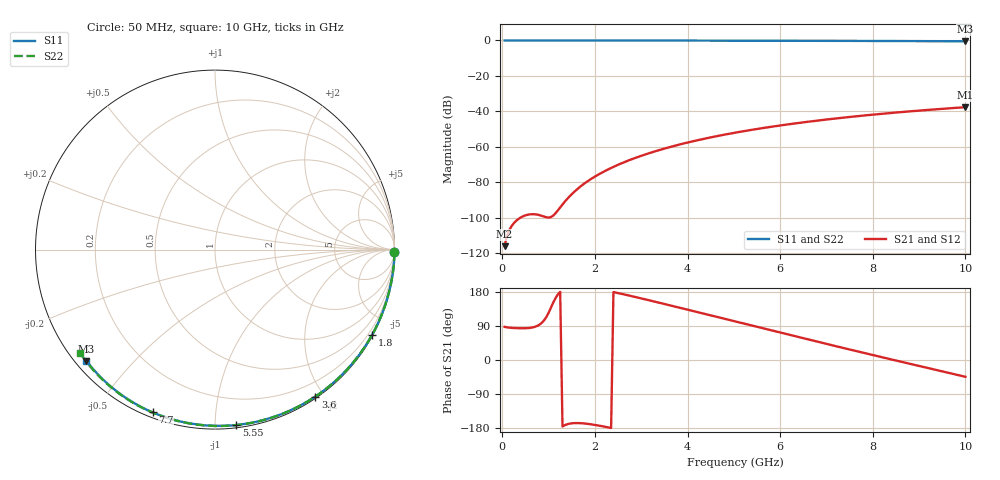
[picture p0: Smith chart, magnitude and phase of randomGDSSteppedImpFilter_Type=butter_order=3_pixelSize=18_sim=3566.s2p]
! freq	dB(S11)	phase(S11)	dB(S12)	phase(S12)
!  dB(S21)	phase(S21)	dB(S22)	phase(S22)
!S-par simulation data
#  GHz  S  DB  R 50
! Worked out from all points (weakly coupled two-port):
!   200 points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, 50 MHz to 10 GHz, reference 50 ohm
!   highest |S21| = -37.67 dB at 10 GHz (marker M1); lowest = -116.1 dB at 50 MHz (marker M2)
!   lowest |S11| = -0.5 dB at 10 GHz (marker M3), VSWR 36.78, Z = 1.55 - j18.6 ohm
!   |S11| at or under -10 dB: nowhere
!   |S22| runs from -0.5 to 0.0 dB; largest |S21 - S12| = 0
!   S11 on the Smith chart (normalised r, x): 50 MHz: open; 1.8 GHz: 0.03, -3.93; 3.6 GHz: 0.02, -1.89; 5.55 GHz: 0.02, -1.13; 7.7 GHz: 0.02, -0.69; 10 GHz: 0.03, -0.37
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0.05  -0.00 -0.8  -116.11 87.5  -116.11 87.5  -0.00 -0.8
0.45  -0.01 -7.2  -99.22 83.7  -99.22 83.7  -0.01 -7.4
0.9  -0.02 -14.4  -99.39 104.3  -99.39 104.3  -0.02 -14.8
1.3  -0.03 -20.7  -92.57 -175.3  -92.57 -175.3  -0.03 -21.2
1.75  -0.04 -27.8  -81.18 -167.3  -81.18 -167.3  -0.04 -28.4
1.8  -0.04 -28.5  -80.23 -167.9  -80.23 -167.9  -0.04 -29.2
2.05  -0.04 -32.4  -76.06 -172.4  -76.06 -172.4  -0.04 -33.2
2.2  -0.04 -34.7  -73.92 -175.7  -73.92 -175.7  -0.04 -35.6
2.55  -0.05 -40.1  -69.60 175.3  -69.60 175.3  -0.05 -41.0
2.95  -0.06 -46.1  -65.57 164.0  -65.57 164.0  -0.06 -47.2
3.4  -0.07 -52.8  -61.78 150.8  -61.78 150.8  -0.07 -54.1
3.6  -0.08 -55.7  -60.30 144.9  -60.30 144.9  -0.08 -57.1
3.9  -0.08 -60.1  -58.26 135.8  -58.26 135.8  -0.08 -61.5
4.3  -0.09 -65.8  -55.82 123.7  -55.82 123.7  -0.09 -67.4
5.05  -0.12 -76.3  -51.94 100.9  -51.94 100.9  -0.12 -78.1
5.55  -0.14 -83.1  -49.75 85.8  -49.75 85.8  -0.14 -85.1
6.1  -0.16 -90.5  -47.61 69.2  -47.61 69.2  -0.16 -92.6
6.7  -0.19 -98.3  -45.56 51.3  -45.56 51.3  -0.19 -100.6
7.7  -0.25 -111.0  -42.65 21.9  -42.65 21.9  -0.26 -113.6
8.35  -0.31 -119.0  -41.03 3.0  -41.03 3.0  -0.31 -121.9
9.2  -0.38 -129.4  -39.18 -21.5  -39.18 -21.5  -0.39 -132.6
10  -0.47 -139.1  -37.67 -44.3  -37.67 -44.3  -0.47 -142.7
